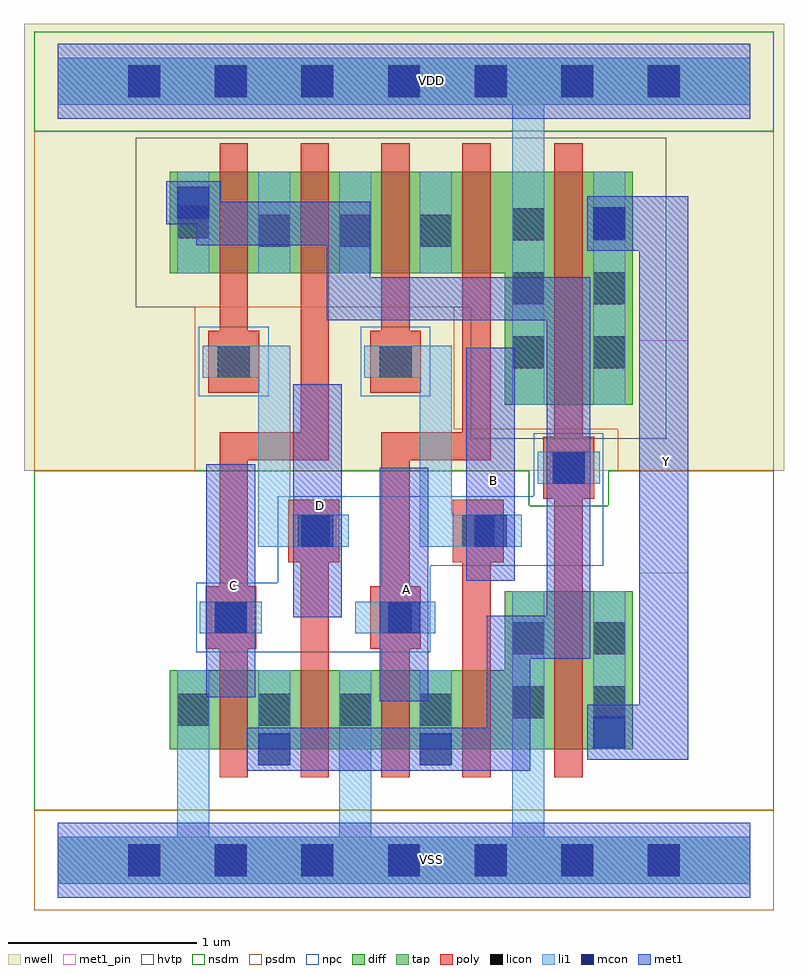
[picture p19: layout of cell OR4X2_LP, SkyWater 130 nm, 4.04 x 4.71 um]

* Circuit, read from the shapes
.subckt OR4X2_LP A B C D VDD VSS Y
XM1 n1 C VSS VSS sky130_fd_pr__nfet_01v8 w=0.42 l=0.15
XM2 VSS D n1 VSS sky130_fd_pr__nfet_01v8 w=0.42 l=0.15
XM3 n1 A VSS VSS sky130_fd_pr__nfet_01v8 w=0.42 l=0.15
XM4 VSS B n1 VSS sky130_fd_pr__nfet_01v8 w=0.42 l=0.15
XM5 Y n1 VSS VSS sky130_fd_pr__nfet_01v8 w=0.84 l=0.15
XM6 n2 D n1 VDD sky130_fd_pr__pfet_01v8_hvt w=0.54 l=0.15
XM7 n3 C n2 VDD sky130_fd_pr__pfet_01v8_hvt w=0.54 l=0.15
XM8 n4 B n3 VDD sky130_fd_pr__pfet_01v8_hvt w=0.54 l=0.15
XM9 VDD A n4 VDD sky130_fd_pr__pfet_01v8_hvt w=0.54 l=0.15
XM10 Y n1 VDD VDD sky130_fd_pr__pfet_01v8_hvt w=1.24 l=0.15
.ends

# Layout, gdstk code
from math import pi, radians
import gdstk
lib = gdstk.Library(unit=1e-6, precision=1e-09)
def R(c, l, rs):  # rectangles x0, y0, x1, y1
    for r in rs: c.add(gdstk.rectangle(r[:2], r[2:], *l))
def A(c, l, x, y, w, h, nx, ny, dx, dy):  # array of equal rectangles
    R(c, l, [(x+i*dx, y+j*dy, x+i*dx+w, y+j*dy+h) for i in range(nx) for j in range(ny)])
def P(c, l, *ps):  # polygons
    for p in ps: c.add(gdstk.Polygon(p, *l))
nwell = (64, 20)
diff = (65, 20)
tap = (65, 44)
poly = (66, 20)
licon = (66, 44)
li1 = (67, 20)
mcon = (67, 44)
met1_pin = (68, 16)
met1 = (68, 20)
hvtp = (78, 44)
nsdm = (93, 44)
psdm = (94, 20)
npc = (95, 20)

pyl1con_c_cdns_758729379 = lib.new_cell('PYL1CON_C_CDNS_758729379653')
R(pyl1con_c_cdns_758729379, poly, [(-0.135,-0.165,0.135,0.165)])
R(pyl1con_c_cdns_758729379, licon, [(-0.085,-0.085,0.085,0.085)])
R(pyl1con_c_cdns_758729379, npc, [(-0.185,-0.185,0.185,0.185)])

l1m1_c_cdns_758729379655 = lib.new_cell('L1M1_C_CDNS_758729379655')
R(l1m1_c_cdns_758729379655, li1, [(-0.085,-0.165,0.085,0.165)])
R(l1m1_c_cdns_758729379655, mcon, [(-0.085,-0.085,0.085,0.085)])
R(l1m1_c_cdns_758729379655, met1, [(-0.115,-0.145,0.115,0.145)])

l1m1_c_cdns_758729379652 = lib.new_cell('L1M1_C_CDNS_758729379652')
R(l1m1_c_cdns_758729379652, li1, [(-0.085,-0.165,0.085,0.165)])
R(l1m1_c_cdns_758729379652, mcon, [(-0.085,-0.085,0.085,0.085)])
R(l1m1_c_cdns_758729379652, met1, [(-0.145,-0.115,0.145,0.115)])

l1m1_c_cdns_758729379654 = lib.new_cell('L1M1_C_CDNS_758729379654')
R(l1m1_c_cdns_758729379654, li1, [(-0.165,-0.085,0.165,0.085)])
R(l1m1_c_cdns_758729379654, mcon, [(-0.085,-0.085,0.085,0.085)])
R(l1m1_c_cdns_758729379654, met1, [(-0.115,-0.145,0.115,0.145)])

licondiff_c_cdns_7587293 = lib.new_cell('LICONDIFF_C_CDNS_758729379657')
R(licondiff_c_cdns_7587293, diff, [(-0.125,-0.145,0.125,0.145)])
R(licondiff_c_cdns_7587293, licon, [(-0.085,-0.085,0.085,0.085), (-0.085,-0.085,0.085,0.085)])

l1m1_c_cdns_758729379651 = lib.new_cell('L1M1_C_CDNS_7587293796513')
R(l1m1_c_cdns_758729379651, li1, [(-0.085,-0.085,0.085,0.165)])
R(l1m1_c_cdns_758729379651, mcon, [(-0.085,-0.085,0.085,0.085)])
R(l1m1_c_cdns_758729379651, met1, [(-0.115,-0.145,0.115,0.145)])

l1m1_c_cdns_758729379650 = lib.new_cell('L1M1_C_CDNS_758729379650')
R(l1m1_c_cdns_758729379650, li1, [(-0.085,-0.085,0.085,0.165)])
R(l1m1_c_cdns_758729379650, mcon, [(-0.085,-0.085,0.085,0.085)])
R(l1m1_c_cdns_758729379650, met1, [(-0.145,-0.115,0.145,0.115)])

or4x2_lp = lib.new_cell('OR4X2_LP')
R(or4x2_lp, nwell, [(-0.18,2.07,3.86,4.445)])
P(or4x2_lp, diff, [(3.055,3.66),(0.595,3.66),(0.595,3.12),(2.375,3.12),(2.375,2.42),(3.055,2.42)],
  [(3.055,1.43),(2.375,1.43),(2.375,1.01),(0.595,1.01),(0.595,0.59),(3.055,0.59)])
R(or4x2_lp, poly, [(0.86,0.44,1.01,1.16), (1.29,0.44,1.44,1.75), (1.72,0.44,1.87,1.16), (2.15,0.44,2.3,1.75), (2.64,0.44,2.79,3.81), (0.86,2.65,1.01,3.81), (1.72,2.65,1.87,3.81)])
P(or4x2_lp, poly, [(1.44,3.81),(1.29,3.81),(1.29,2.275),(0.86,2.275),(0.86,1.165),(1.01,1.165),(1.01,2.125),(1.44,2.125)],
  [(2.3,3.81),(2.15,3.81),(2.15,2.275),(1.72,2.275),(1.72,1.165),(1.87,1.165),(1.87,2.125),(2.3,2.125)])
A(or4x2_lp, licon, 0.375, -0.085, 0.17, 0.17, 7, 2, 0.46, 4.14)
A(or4x2_lp, licon, 0.635, 0.715, 0.17, 0.17, 4, 1, 0.43, 0)
A(or4x2_lp, licon, 2.415, 2.615, 0.17, 0.17, 1, 3, 0, 0.34)
A(or4x2_lp, licon, 2.845, 2.615, 0.17, 0.17, 1, 3, 0, 0.34)
R(or4x2_lp, licon, [(2.415,0.755,2.585,0.925), (2.845,0.755,3.015,0.925), (2.415,1.095,2.585,1.265), (2.845,1.095,3.015,1.265), (0.635,3.305,0.805,3.475)])
R(or4x2_lp, li1, [(1.065,0.59,1.235,1.01), (1.925,0.59,2.095,1.01), (2.845,0.59,3.015,1.43), (2.845,2.42,3.015,3.66), (0.635,3.12,0.805,3.66)])
P(or4x2_lp, li1, [(1.535,1.835),(1.235,1.835),(1.235,2.735),(0.77,2.735),(0.77,2.565),(1.065,2.565),(1.065,1.665),(1.535,1.665)],
  [(2.4,1.835),(2.095,1.835),(2.095,2.735),(1.63,2.735),(1.63,2.565),(1.925,2.565),(1.925,1.665),(2.4,1.665)],
  [(3.68,4.265),(0,4.265),(0,4.015),(2.415,4.015),(2.415,2.42),(2.585,2.42),(2.585,4.015),(3.68,4.015)],
  [(3.68,0.125),(2.585,0.125),(2.585,1.43),(2.415,1.43),(2.415,0.125),(1.665,0.125),(1.665,1.01),(1.495,1.01),(1.495,0.125),(0.805,0.125),(0.805,1.01),(0.635,1.01),(0.635,0.125),(0,0.125),(0,-0.125),(3.68,-0.125)])
A(or4x2_lp, mcon, 0.375, -0.085, 0.17, 0.17, 7, 2, 0.46, 4.14)
R(or4x2_lp, met1_pin, [(1.71,0.845,1.97,2.085), (0.79,0.865,1.05,2.105), (1.25,1.29,1.51,2.53), (2.17,1.485,2.43,2.725), (3.09,1.525,3.35,2.765)])
P(or4x2_lp, met1, [(3.35,3.53),(2.96,3.53),(2.96,3.24),(3.09,3.24),(3.09,0.825),(2.93,0.825),(2.93,0.535),(3.35,0.535)])
P(or4x2_lp, hvtp, [(3.235,3.84),(0.415,3.84),(0.415,2.94),(2.195,2.94),(2.195,2.24),(3.235,2.24)])
R(or4x2_lp, nsdm, [(-0.125,3.875,3.805,4.405)])
P(or4x2_lp, nsdm, [(3.805,2.07),(2.925,2.07),(2.925,1.885),(2.505,1.885),(2.505,2.07),(-0.125,2.07),(-0.125,0.265),(3.805,0.265)])
R(or4x2_lp, psdm, [(-0.125,-0.265,3.805,0.265)])
P(or4x2_lp, psdm, [(3.805,3.875),(-0.125,3.875),(-0.125,2.07),(0.73,2.07),(0.73,2.94),(2.105,2.94),(2.105,2.29),(2.975,2.29),(2.975,2.07),(3.805,2.07)])
P(or4x2_lp, npc, [(2.9,2.27),(2.53,2.27),(2.53,1.935),(1.17,1.935),(1.17,1.475),(0.735,1.475),(0.735,1.105),(1.98,1.105),(1.98,1.565),(2.9,1.565)])
or4x2_lp.add(gdstk.FlexPath([(2.01,3.12),(2.01,3.66)], 0.17, ends="flush", simple_path=True, layer=67, datatype=20))  # li1
or4x2_lp.add(gdstk.FlexPath([(1.58,3.12),(1.58,3.66)], 0.17, ends="flush", simple_path=True, layer=67, datatype=20))  # li1
or4x2_lp.add(gdstk.FlexPath([(1.15,3.12),(1.15,3.66)], 0.17, ends="flush", simple_path=True, layer=67, datatype=20))  # li1
or4x2_lp.add(gdstk.FlexPath([(1.84,1.29),(1.58,1.29)], 0.17, ends="flush", simple_path=True, layer=67, datatype=20))  # li1
or4x2_lp.add(gdstk.FlexPath([(0,4.14),(3.68,4.14)], 0.4, ends="flush", simple_path=True, layer=68, datatype=20))  # met1
or4x2_lp.add(gdstk.FlexPath([(0,0),(3.68,0)], 0.4, ends="flush", simple_path=True, layer=68, datatype=20))  # met1
or4x2_lp.add(gdstk.FlexPath([(1.38,1.29),(1.38,2.53)], 0.26, ends="flush", simple_path=True, layer=68, datatype=20))  # met1
or4x2_lp.add(gdstk.FlexPath([(0.735,3.385),(1.545,3.385),(1.545,2.985),(2.715,2.985),(2.715,1.185),(2.395,1.185),(2.395,0.59),(1.005,0.59)], 0.23, ends="flush", simple_path=True, layer=68, datatype=20))  # met1
or4x2_lp.add(gdstk.FlexPath([(0.92,0.865),(0.92,2.105)], 0.26, ends="flush", simple_path=True, layer=68, datatype=20))  # met1
or4x2_lp.add(gdstk.FlexPath([(2.3,1.485),(2.3,2.725)], 0.26, ends="flush", simple_path=True, layer=68, datatype=20))  # met1
or4x2_lp.add(gdstk.FlexPath([(1.84,0.845),(1.84,2.085)], 0.26, ends="flush", simple_path=True, layer=68, datatype=20))  # met1
or4x2_lp.add(gdstk.FlexPath([(0,4.14),(3.68,4.14)], 0.4, ends="flush", simple_path=True, layer=68, datatype=16))  # met1_pin
or4x2_lp.add(gdstk.FlexPath([(0,0),(3.68,0)], 0.4, ends="flush", simple_path=True, layer=68, datatype=16))  # met1_pin
or4x2_lp.add(gdstk.FlexPath([(0,4.14),(3.68,4.14)], 0.25, ends="flush", simple_path=True, layer=65, datatype=44))  # tap
or4x2_lp.add(gdstk.FlexPath([(0,0),(3.68,0)], 0.25, ends="flush", simple_path=True, layer=65, datatype=44))  # tap
or4x2_lp.add(gdstk.Reference(pyl1con_c_cdns_758729379, (0.92,1.29), x_reflection=True))
or4x2_lp.add(gdstk.Reference(pyl1con_c_cdns_758729379, (1.795,1.29), x_reflection=True))
or4x2_lp.add(gdstk.Reference(pyl1con_c_cdns_758729379, (2.715,2.085), rotation=pi, x_reflection=True))
or4x2_lp.add(gdstk.Reference(pyl1con_c_cdns_758729379, (2.235,1.75), x_reflection=True))
or4x2_lp.add(gdstk.Reference(pyl1con_c_cdns_758729379, (1.795,2.65), x_reflection=True))
or4x2_lp.add(gdstk.Reference(pyl1con_c_cdns_758729379, (1.36,1.75), x_reflection=True))
or4x2_lp.add(gdstk.Reference(pyl1con_c_cdns_758729379, (0.935,2.65), x_reflection=True))
or4x2_lp.add(gdstk.Reference(l1m1_c_cdns_758729379655, (2.93,3.385)))
or4x2_lp.add(gdstk.Reference(l1m1_c_cdns_758729379652, (0.72,3.495)))
or4x2_lp.add(gdstk.Reference(l1m1_c_cdns_758729379654, (1.38,1.75), x_reflection=True))
or4x2_lp.add(gdstk.Reference(l1m1_c_cdns_758729379654, (2.715,2.085)))
or4x2_lp.add(gdstk.Reference(l1m1_c_cdns_758729379654, (0.92,1.29), x_reflection=True))
or4x2_lp.add(gdstk.Reference(l1m1_c_cdns_758729379654, (1.84,1.29), x_reflection=True))
or4x2_lp.add(gdstk.Reference(l1m1_c_cdns_758729379654, (2.3,1.75), x_reflection=True))
or4x2_lp.add(gdstk.Reference(licondiff_c_cdns_7587293, (2.01,3.345)))
or4x2_lp.add(gdstk.Reference(licondiff_c_cdns_7587293, (1.58,3.345)))
or4x2_lp.add(gdstk.Reference(licondiff_c_cdns_7587293, (1.15,3.345)))
or4x2_lp.add(gdstk.Reference(l1m1_c_cdns_758729379651, (2.93,0.68)))
or4x2_lp.add(gdstk.Reference(l1m1_c_cdns_758729379650, (1.15,0.59)))
or4x2_lp.add(gdstk.Reference(l1m1_c_cdns_758729379650, (2.01,0.59)))
or4x2_lp.add(gdstk.Label('VDD', (1.985,4.145), layer=68, texttype=5))
or4x2_lp.add(gdstk.Label('D', (1.395,1.885), layer=68, texttype=5))
or4x2_lp.add(gdstk.Label('B', (2.315,2.02), layer=68, texttype=5))
or4x2_lp.add(gdstk.Label('C', (0.935,1.46), layer=68, texttype=5))
or4x2_lp.add(gdstk.Label('A', (1.855,1.44), layer=68, texttype=5))
or4x2_lp.add(gdstk.Label('Y', (3.235,2.12), layer=68, texttype=5))
or4x2_lp.add(gdstk.Label('VSS', (1.985,0.005), layer=68, texttype=5))

lib.write_gds('OR4X2_LP.gds')
